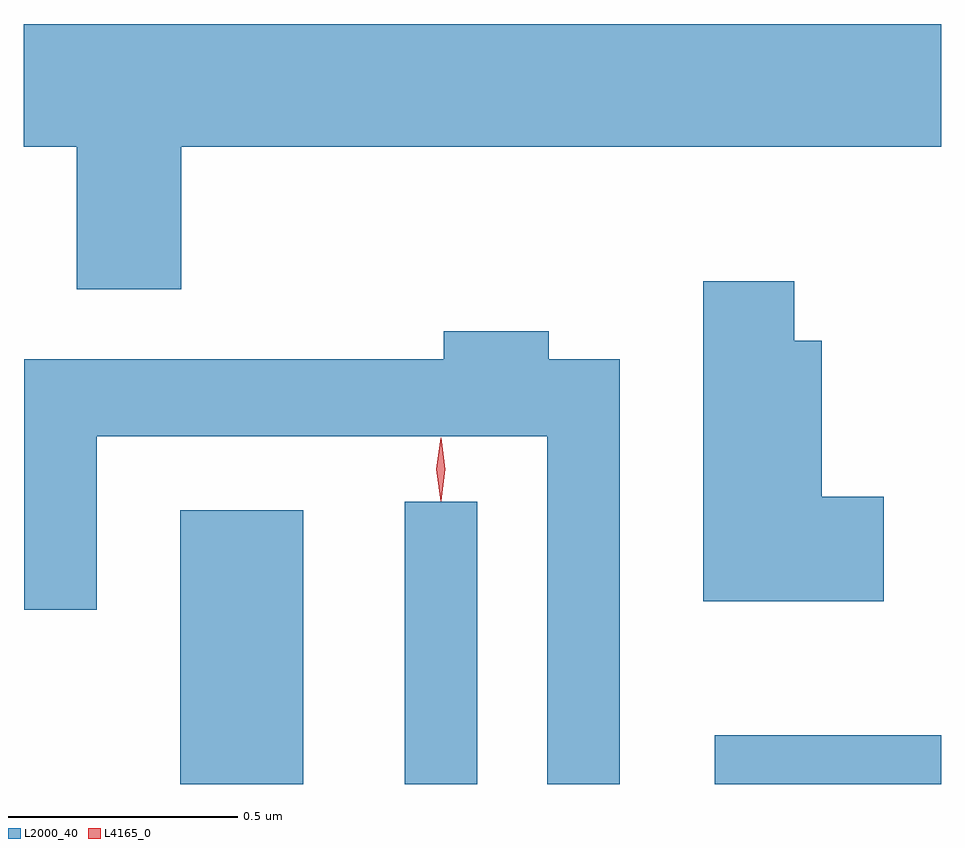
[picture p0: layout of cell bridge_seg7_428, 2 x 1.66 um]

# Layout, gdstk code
import gdstk
lib = gdstk.Library(unit=1e-6, precision=1e-09)
def R(c, l, rs):  # rectangles x0, y0, x1, y1
    for r in rs: c.add(gdstk.rectangle(r[:2], r[2:], *l))
def P(c, l, *ps):  # polygons
    for p in ps: c.add(gdstk.Polygon(p, *l))
L2000_40 = (2000, 40)
L4165_0 = (4165, 0)

bridge_seg7_428 = lib.new_cell('bridge_seg7_428')
R(bridge_seg7_428, L2000_40, [(1084.396,1692.948,1084.664,1693.544), (1084.886,1692.948,1085.044,1693.563), (1085.561,1692.948,1086.055,1693.054)])
P(bridge_seg7_428, L2000_40, [(1084.399,1694.336),(1086.055,1694.336),(1086.055,1694.604),(1084.055,1694.604),(1084.055,1694.336),(1084.171,1694.336),(1084.171,1694.026),(1084.399,1694.026)],
  [(1085.929,1693.574),(1085.794,1693.574),(1085.794,1693.914),(1085.734,1693.914),(1085.734,1694.044),(1085.536,1694.044),(1085.536,1693.346),(1085.929,1693.346)],
  [(1085.354,1693.874),(1085.199,1693.874),(1085.199,1693.934),(1084.971,1693.934),(1084.971,1693.874),(1084.056,1693.874),(1084.056,1693.328),(1084.214,1693.328),(1084.214,1693.706),(1085.196,1693.706),(1085.196,1692.948),(1085.354,1692.948)])
P(bridge_seg7_428, L4165_0, [(1084.964,1693.564),(1084.964,1693.564),(1084.954,1693.634),(1084.964,1693.702),(1084.964,1693.703),(1084.965,1693.702),(1084.974,1693.634),(1084.965,1693.564)])

lib.write_gds('bridge_seg7_428.gds')
